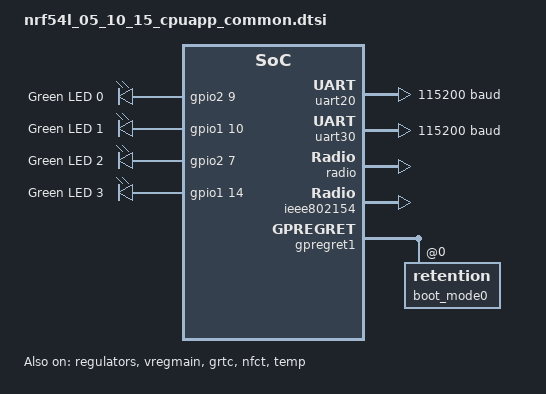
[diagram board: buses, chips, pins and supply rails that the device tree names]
/*
 * Copyright (c) 2024 Nordic Semiconductor ASA
 *
 * SPDX-License-Identifier: Apache-2.0
 */

/* This file is common to the secure and non-secure domain */

// #include "nrf54l15dk_common.dtsi"
#include "nrf54l15dk_nrf54l_05_10_15-pinctrl.dtsi"

/ {
	leds {
		compatible = "gpio-leds";

		led0: led_0 {
			gpios = <&gpio2 9 GPIO_ACTIVE_HIGH>;
			label = "Green LED 0";
		};

		led1: led_1 {
			gpios = <&gpio1 10 GPIO_ACTIVE_HIGH>;
			label = "Green LED 1";
		};

		led2: led_2 {
			gpios = <&gpio2 7 GPIO_ACTIVE_HIGH>;
			label = "Green LED 2";
		};

		led3: led_3 {
			gpios = <&gpio1 14 GPIO_ACTIVE_HIGH>;
			label = "Green LED 3";
		};
	};

	aliases {
		led0 = &led0;
		led1 = &led1;
		led2 = &led2;
		led3 = &led3;
		watchdog0 = &wdt31;
	};
};

&uart20 {
	current-speed = <115200>;
	pinctrl-0 = <&uart20_default>;
	pinctrl-1 = <&uart20_sleep>;
	pinctrl-names = "default", "sleep";
};

&uart30 {
	current-speed = <115200>;
	pinctrl-0 = <&uart30_default>;
	pinctrl-1 = <&uart30_sleep>;
	pinctrl-names = "default", "sleep";
};

&hfxo {
	startup-time-us = <854>;
};


/ {
	chosen {
		zephyr,console = &uart20;
		zephyr,shell-uart = &uart20;
		zephyr,uart-mcumgr = &uart20;
		zephyr,bt-mon-uart = &uart20;
		zephyr,bt-c2h-uart = &uart20;
		zephyr,flash-controller = &rram_controller;
		zephyr,flash = &cpuapp_rram;
		zephyr,ieee802154 = &ieee802154;
		zephyr,boot-mode = &boot_mode0;
	};
};

&cpuapp_sram {
	status = "okay";
};

&lfxo {
	load-capacitors = "internal";
	load-capacitance-femtofarad = <17000>;
};

&hfxo {
	load-capacitors = "internal";
	load-capacitance-femtofarad = <15000>;
};

&regulators {
	status = "okay";
};

&vregmain {
	status = "okay";
	regulator-initial-mode = <NRF5X_REG_MODE_DCDC>;
};

&grtc {
	owned-channels = <0 1 2 3 4 5 6 7 8 9 10 11>;
	/* Channels 7-11 reserved for Zero Latency IRQs, 3-4 for FLPR */
	child-owned-channels = <3 4 7 8 9 10 11>;
	status = "okay";
};

&uart20 {
	status = "okay";
};

&nfct {
	status = "okay";
};

&gpio0 {
	status = "okay";
};

&gpio1 {
	status = "okay";
};

&gpio2 {
	status = "okay";
};

&gpiote20 {
	status = "okay";
};

&gpiote30 {
	status = "okay";
};

&radio {
	status = "okay";
};

&ieee802154 {
	status = "okay";
};

&temp {
	status = "okay";
};

&clock {
	status = "okay";
};

&gpregret1 {
	status = "okay";

	boot_mode0: boot_mode@0 {
		compatible = "zephyr,retention";
		status = "okay";
		reg = <0x0 0x1>;
	};
};
